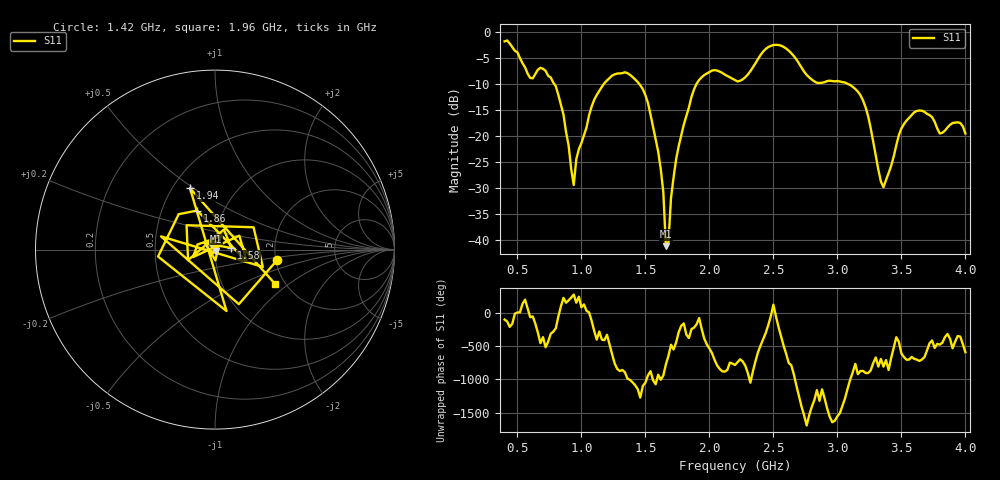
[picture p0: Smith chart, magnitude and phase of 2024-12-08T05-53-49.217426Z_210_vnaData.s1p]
!Created with skrf (http://scikit-rf.org).
# Hz S RI R 50.0
!freq ReS11 ImS11
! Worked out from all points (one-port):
!   181 points, 400 MHz to 4 GHz, reference 50 ohm
!   lowest |S11| = -41.2 dB at 1.66 GHz (marker M1), VSWR 1.02, Z = 50.5 - j0.728 ohm
!   |S11| at or under -10 dB: 789 MHz to 1.174 GHz (384.8 MHz wide, 39.2 % of centre); 1.454 GHz to 1.898 GHz (444.4 MHz wide, 26.5 % of centre); 3.087 GHz to end of sweep
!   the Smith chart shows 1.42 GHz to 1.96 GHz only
!   S11 on the Smith chart (normalised r, x): 1.42 GHz: 2.04, -0.27; 1.58 GHz: 1.20, +0.02; 1.86 GHz: 0.75, +0.35; 1.94 GHz: 0.61, +0.48; 1.96 GHz: 1.78, -0.81
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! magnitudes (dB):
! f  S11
! 400 MHz  -1.7
! 600 MHz  -8.8
! 720 MHz  -7.4
! 860 MHz  -15.9
! 940 MHz  -29.4
! 960 MHz  -24.4
! 1.1 GHz  -13.0
! 1.3 GHz  -7.9
! 1.42 GHz  -9.1
! 1.5 GHz  -12.1
! 1.58 GHz  -20.7
! 1.64 GHz  -30.8
! 1.66 GHz  -41.2
! 1.68 GHz  -40.4
! 1.7 GHz  -31.9
! 1.76 GHz  -21.9
! 1.86 GHz  -12.4
! 1.94 GHz  -8.6
! 1.96 GHz  -8.2
! 2.2 GHz  -9.2
! 2.48 GHz  -2.6
! 2.66 GHz  -4.6
! 2.84 GHz  -9.7
! 3.1 GHz  -10.1
! 3.22 GHz  -14.4
! 3.36 GHz  -29.8
! 3.56 GHz  -16.5
! 4 GHz  -19.5
